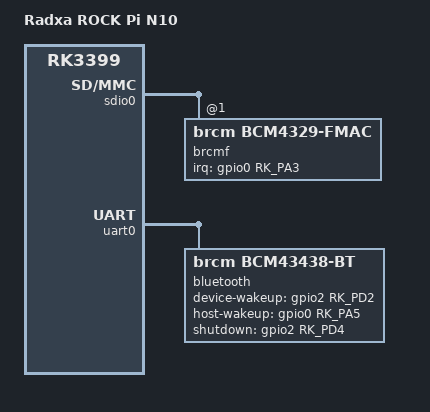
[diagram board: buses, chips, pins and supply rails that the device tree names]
// SPDX-License-Identifier: (GPL-2.0+ OR MIT)
/*
 * Copyright (c) 2019 Fuzhou Rockchip Electronics Co., Ltd
 * Copyright (c) 2019 Radxa Limited
 * Copyright (c) 2019 Amarula Solutions(India)
 */

/dts-v1/;
#include "rk3399.dtsi"
#include "rk3399-opp.dtsi"
#include <arm/rockchip-radxa-dalang-carrier.dtsi>
#include "rk3399pro-vmarc-som.dtsi"

/ {
	model = "Radxa ROCK Pi N10";
	compatible = "radxa,rockpi-n10", "vamrs,rk3399pro-vmarc-som",
		     "rockchip,rk3399pro";

	chosen {
		stdout-path = "serial2:1500000n8";
	};
};

&sdio0 {
	#address-cells = <1>;
	#size-cells = <0>;

	brcmf: wifi@1 {
		compatible = "brcm,bcm4329-fmac";
		reg = <1>;
		interrupt-parent = <&gpio0>;
		interrupts = <RK_PA3 GPIO_ACTIVE_HIGH>;
		interrupt-names = "host-wake";
		pinctrl-names = "default";
		pinctrl-0 = <&wifi_host_wake_l>;
	};
};

&uart0 {
	pinctrl-0 = <&uart0_xfer &uart0_cts &uart0_rts>;

	bluetooth {
		compatible = "brcm,bcm43438-bt";
		clocks = <&hym8563>;
		clock-names = "ext_clock";
		device-wakeup-gpios = <&gpio2 RK_PD2 GPIO_ACTIVE_HIGH>;
		host-wakeup-gpios = <&gpio0 RK_PA5 GPIO_ACTIVE_HIGH>;
		shutdown-gpios = <&gpio2 RK_PD4 GPIO_ACTIVE_HIGH>;
		pinctrl-names = "default";
		pinctrl-0 = <&bt_host_wake_l &bt_wake_l &bt_enable_h>;
	};
};

&pinctrl {
	bt {
		bt_enable_h: bt-enable-h {
			rockchip,pins = <2 RK_PD4 RK_FUNC_GPIO &pcfg_pull_none>;
		};

		bt_host_wake_l: bt-host-wake-l {
			rockchip,pins = <0 RK_PA5 RK_FUNC_GPIO &pcfg_pull_none>;
		};

		bt_wake_l: bt-wake-l {
			rockchip,pins = <2 RK_PD2 RK_FUNC_GPIO &pcfg_pull_none>;
		};
	};

	wifi {
		wifi_host_wake_l: wifi-host-wake-l {
			rockchip,pins = <0 RK_PA3 RK_FUNC_GPIO &pcfg_pull_none>;
		};
	};
};
